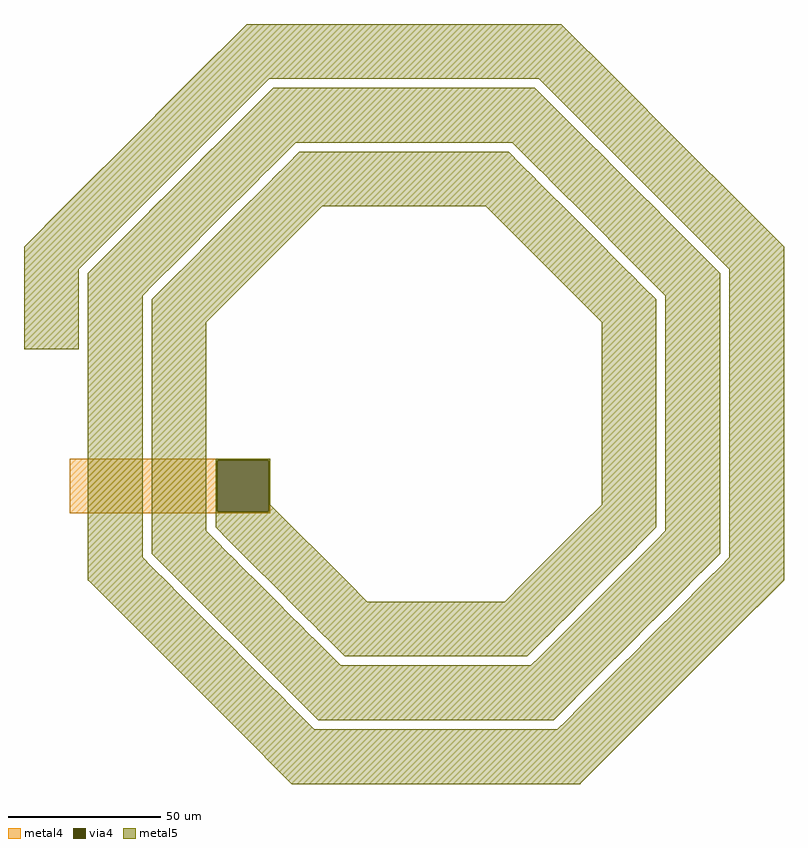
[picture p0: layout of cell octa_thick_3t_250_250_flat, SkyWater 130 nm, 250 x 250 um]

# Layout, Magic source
magic
tech sky130B
magscale 1 2
<< metal4 >>
rect -44100 -23712 -30900 -23600
rect -44100 -27088 -34388 -23712
rect -31012 -27088 -30900 -23712
rect -44100 -27200 -30900 -27088
<< via4 >>
rect -34388 -27088 -31012 -23712
<< metal5 >>
tri -36055 1400 -32455 5000 se
rect -32455 1400 -11745 5000
tri -11745 1400 -8145 5000 sw
tri -37667 -212 -36055 1400 se
rect -36055 800 -31564 1400
tri -31564 800 -30964 1400 nw
tri -13236 800 -12636 1400 ne
rect -12636 800 -8145 1400
rect -36055 -48 -32412 800
tri -32412 -48 -31564 800 nw
tri -31564 -48 -30716 800 se
rect -30716 -48 -13484 800
tri -13484 -48 -12636 800 sw
tri -12636 -48 -11788 800 ne
rect -11788 -48 -8145 800
rect -36055 -212 -32576 -48
tri -32576 -212 -32412 -48 nw
tri -31728 -212 -31564 -48 se
rect -31564 -212 -12636 -48
tri -39300 -1845 -37667 -212 se
rect -37667 -1060 -33424 -212
tri -33424 -1060 -32576 -212 nw
tri -32576 -1060 -31728 -212 se
rect -31728 -896 -12636 -212
tri -12636 -896 -11788 -48 sw
tri -11788 -896 -10940 -48 ne
rect -10940 -896 -8145 -48
rect -31728 -1060 -11788 -896
rect -37667 -1845 -34272 -1060
tri -40191 -2736 -39300 -1845 se
rect -39300 -1908 -34272 -1845
tri -34272 -1908 -33424 -1060 nw
tri -33424 -1908 -32576 -1060 se
rect -32576 -1104 -11788 -1060
tri -11788 -1104 -11580 -896 sw
tri -10940 -1104 -10732 -896 ne
rect -10732 -1104 -8145 -896
rect -32576 -1908 -11580 -1104
rect -39300 -2736 -35100 -1908
tri -35100 -2736 -34272 -1908 nw
tri -34252 -2736 -33424 -1908 se
rect -33424 -1952 -11580 -1908
tri -11580 -1952 -10732 -1104 sw
tri -10732 -1952 -9884 -1104 ne
rect -9884 -1952 -8145 -1104
rect -33424 -2736 -10732 -1952
tri -43500 -6045 -40191 -2736 se
rect -40191 -3584 -35948 -2736
tri -35948 -3584 -35100 -2736 nw
tri -34316 -2800 -34252 -2736 se
rect -34252 -2800 -10732 -2736
tri -10732 -2800 -9884 -1952 sw
tri -9884 -2800 -9036 -1952 ne
rect -9036 -2800 -8145 -1952
tri -8145 -2800 -3945 1400 sw
tri -35100 -3584 -34316 -2800 se
rect -34316 -3400 -29824 -2800
tri -29824 -3400 -29224 -2800 nw
tri -14976 -3400 -14376 -2800 ne
rect -14376 -3400 -9884 -2800
rect -34316 -3584 -30672 -3400
rect -40191 -4432 -36796 -3584
tri -36796 -4432 -35948 -3584 nw
tri -35948 -4432 -35100 -3584 se
rect -35100 -4248 -30672 -3584
tri -30672 -4248 -29824 -3400 nw
tri -29824 -4248 -28976 -3400 se
rect -28976 -4248 -15224 -3400
tri -15224 -4248 -14376 -3400 sw
tri -14376 -4248 -13528 -3400 ne
rect -13528 -3648 -9884 -3400
tri -9884 -3648 -9036 -2800 sw
tri -9036 -3648 -8188 -2800 ne
rect -8188 -3648 -3945 -2800
rect -13528 -4248 -9036 -3648
rect -35100 -4432 -31520 -4248
rect -40191 -5280 -37644 -4432
tri -37644 -5280 -36796 -4432 nw
tri -36796 -5280 -35948 -4432 se
rect -35948 -5096 -31520 -4432
tri -31520 -5096 -30672 -4248 nw
tri -30672 -5096 -29824 -4248 se
rect -29824 -5096 -14376 -4248
tri -14376 -5096 -13528 -4248 sw
tri -13528 -5096 -12680 -4248 ne
rect -12680 -4496 -9036 -4248
tri -9036 -4496 -8188 -3648 sw
tri -8188 -4496 -7340 -3648 ne
rect -7340 -4496 -3945 -3648
rect -12680 -5096 -8188 -4496
rect -35948 -5280 -31728 -5096
rect -40191 -5304 -37668 -5280
tri -37668 -5304 -37644 -5280 nw
tri -36820 -5304 -36796 -5280 se
rect -36796 -5304 -31728 -5280
tri -31728 -5304 -31520 -5096 nw
tri -30880 -5304 -30672 -5096 se
rect -30672 -5304 -13528 -5096
tri -13528 -5304 -13320 -5096 sw
tri -12680 -5304 -12472 -5096 ne
rect -12472 -5304 -8188 -5096
tri -8188 -5304 -7380 -4496 sw
tri -7340 -5304 -6532 -4496 ne
rect -6532 -5304 -3945 -4496
rect -40191 -6045 -38516 -5304
tri -44391 -6936 -43500 -6045 se
rect -43500 -6152 -38516 -6045
tri -38516 -6152 -37668 -5304 nw
tri -37668 -6152 -36820 -5304 se
rect -36820 -6152 -32576 -5304
tri -32576 -6152 -31728 -5304 nw
tri -31728 -6152 -30880 -5304 se
rect -30880 -6152 -13320 -5304
tri -13320 -6152 -12472 -5304 sw
tri -12472 -6152 -11624 -5304 ne
rect -11624 -6152 -7380 -5304
tri -7380 -6152 -6532 -5304 sw
tri -6532 -6152 -5684 -5304 ne
rect -5684 -6152 -3945 -5304
rect -43500 -6936 -39300 -6152
tri -39300 -6936 -38516 -6152 nw
tri -38452 -6936 -37668 -6152 se
rect -37668 -6936 -33424 -6152
tri -47100 -9645 -44391 -6936 se
rect -44391 -7784 -40148 -6936
tri -40148 -7784 -39300 -6936 nw
tri -39300 -7784 -38452 -6936 se
rect -38452 -7000 -33424 -6936
tri -33424 -7000 -32576 -6152 nw
tri -32576 -7000 -31728 -6152 se
rect -31728 -7000 -12472 -6152
tri -12472 -7000 -11624 -6152 sw
tri -11624 -7000 -10776 -6152 ne
rect -10776 -7000 -6532 -6152
tri -6532 -7000 -5684 -6152 sw
tri -5684 -7000 -4836 -6152 ne
rect -4836 -7000 -3945 -6152
tri -3945 -7000 255 -2800 sw
rect -38452 -7784 -34272 -7000
rect -44391 -8632 -40996 -7784
tri -40996 -8632 -40148 -7784 nw
tri -40148 -8632 -39300 -7784 se
rect -39300 -7848 -34272 -7784
tri -34272 -7848 -33424 -7000 nw
tri -33424 -7848 -32576 -7000 se
rect -39300 -8632 -35100 -7848
rect -44391 -8676 -41040 -8632
tri -41040 -8676 -40996 -8632 nw
tri -40192 -8676 -40148 -8632 se
rect -40148 -8676 -35100 -8632
tri -35100 -8676 -34272 -7848 nw
tri -34252 -8676 -33424 -7848 se
rect -33424 -8676 -32576 -7848
rect -44391 -9524 -41888 -8676
tri -41888 -9524 -41040 -8676 nw
tri -41040 -9524 -40192 -8676 se
rect -40192 -9524 -35948 -8676
tri -35948 -9524 -35100 -8676 nw
tri -35100 -9524 -34252 -8676 se
rect -34252 -9524 -32576 -8676
rect -44391 -9645 -42052 -9524
rect -47100 -9688 -42052 -9645
tri -42052 -9688 -41888 -9524 nw
tri -41204 -9688 -41040 -9524 se
rect -41040 -9688 -36796 -9524
rect -47100 -10536 -42900 -9688
tri -42900 -10536 -42052 -9688 nw
tri -42052 -10536 -41204 -9688 se
rect -41204 -10372 -36796 -9688
tri -36796 -10372 -35948 -9524 nw
tri -35948 -10372 -35100 -9524 se
rect -35100 -10372 -32576 -9524
rect -41204 -10536 -37644 -10372
rect -47100 -16400 -43500 -10536
tri -43500 -11136 -42900 -10536 nw
tri -42652 -11136 -42052 -10536 se
rect -42052 -11136 -37644 -10536
tri -42900 -11384 -42652 -11136 se
rect -42652 -11220 -37644 -11136
tri -37644 -11220 -36796 -10372 nw
tri -36796 -11220 -35948 -10372 se
rect -35948 -11220 -32576 -10372
rect -42652 -11243 -37667 -11220
tri -37667 -11243 -37644 -11220 nw
tri -36819 -11243 -36796 -11220 se
rect -36796 -11243 -32576 -11220
rect -42652 -11384 -38515 -11243
rect -42900 -12091 -38515 -11384
tri -38515 -12091 -37667 -11243 nw
tri -37667 -12091 -36819 -11243 se
rect -36819 -12091 -32576 -11243
tri -32576 -12091 -27485 -7000 nw
tri -16715 -12091 -11624 -7000 ne
tri -11624 -7848 -10776 -7000 sw
tri -10776 -7848 -9928 -7000 ne
rect -9928 -7848 -5684 -7000
tri -5684 -7848 -4836 -7000 sw
tri -4836 -7848 -3988 -7000 ne
rect -3988 -7848 255 -7000
rect -11624 -8676 -10776 -7848
tri -10776 -8676 -9948 -7848 sw
tri -9928 -8676 -9100 -7848 ne
rect -9100 -8676 -4836 -7848
tri -4836 -8676 -4008 -7848 sw
tri -3988 -8676 -3160 -7848 ne
rect -3160 -8676 255 -7848
rect -11624 -9524 -9948 -8676
tri -9948 -9524 -9100 -8676 sw
tri -9100 -9524 -8252 -8676 ne
rect -8252 -9524 -4008 -8676
tri -4008 -9524 -3160 -8676 sw
tri -3160 -9524 -2312 -8676 ne
rect -2312 -9524 255 -8676
rect -11624 -10372 -9100 -9524
tri -9100 -10372 -8252 -9524 sw
tri -8252 -10372 -7404 -9524 ne
rect -7404 -10372 -3160 -9524
tri -3160 -10372 -2312 -9524 sw
tri -2312 -10372 -1464 -9524 ne
rect -1464 -9645 255 -9524
tri 255 -9645 2900 -7000 sw
rect -1464 -10372 2900 -9645
rect -11624 -11220 -8252 -10372
tri -8252 -11220 -7404 -10372 sw
tri -7404 -11220 -6556 -10372 ne
rect -6556 -11136 -2312 -10372
tri -2312 -11136 -1548 -10372 sw
tri -1464 -11136 -700 -10372 ne
rect -6556 -11220 -1548 -11136
rect -11624 -11428 -7404 -11220
tri -7404 -11428 -7196 -11220 sw
tri -6556 -11428 -6348 -11220 ne
rect -6348 -11384 -1548 -11220
tri -1548 -11384 -1300 -11136 sw
rect -6348 -11428 -1300 -11384
rect -11624 -12091 -7196 -11428
rect -42900 -30694 -39300 -12091
tri -39300 -12876 -38515 -12091 nw
tri -38452 -12876 -37667 -12091 se
rect -37667 -12876 -35100 -12091
tri -38700 -13124 -38452 -12876 se
rect -38452 -13124 -35100 -12876
rect -38700 -28955 -35100 -13124
tri -35100 -14615 -32576 -12091 nw
tri -11624 -14615 -9100 -12091 ne
rect -9100 -12276 -7196 -12091
tri -7196 -12276 -6348 -11428 sw
tri -6348 -12276 -5500 -11428 ne
rect -5500 -12276 -1300 -11428
rect -9100 -13124 -6348 -12276
tri -6348 -13124 -5500 -12276 sw
tri -5500 -12876 -4900 -12276 ne
rect -34500 -23712 -30900 -23600
rect -34500 -27088 -34388 -23712
rect -31012 -27088 -30900 -23712
rect -34500 -28106 -30900 -27088
tri -35100 -28955 -34500 -28355 sw
tri -34500 -28955 -33651 -28106 ne
rect -33651 -28955 -30900 -28106
rect -38700 -29804 -34500 -28955
tri -34500 -29804 -33651 -28955 sw
tri -33651 -29804 -32802 -28955 ne
rect -32802 -29804 -30900 -28955
rect -38700 -29846 -33651 -29804
tri -39300 -30694 -38700 -30094 sw
tri -38700 -30694 -37852 -29846 ne
rect -37852 -30008 -33651 -29846
tri -33651 -30008 -33447 -29804 sw
tri -32802 -30008 -32598 -29804 ne
rect -32598 -30008 -30900 -29804
rect -37852 -30694 -33447 -30008
rect -42900 -30858 -38700 -30694
tri -38700 -30858 -38536 -30694 sw
tri -37852 -30858 -37688 -30694 ne
rect -37688 -30857 -33447 -30694
tri -33447 -30857 -32598 -30008 sw
tri -32598 -30857 -31749 -30008 ne
rect -31749 -30857 -30900 -30008
rect -37688 -30858 -32598 -30857
rect -42900 -31585 -38536 -30858
tri -42900 -31706 -42779 -31585 ne
rect -42779 -31706 -38536 -31585
tri -38536 -31706 -37688 -30858 sw
tri -37688 -31706 -36840 -30858 ne
rect -36840 -31706 -32598 -30858
tri -32598 -31706 -31749 -30857 sw
tri -31749 -31706 -30900 -30857 ne
tri -30900 -31706 -25809 -26615 sw
tri -10394 -27909 -9100 -26615 se
rect -9100 -27909 -5500 -13124
tri -14191 -31706 -10394 -27909 se
rect -10394 -28106 -5500 -27909
rect -10394 -28955 -6349 -28106
tri -6349 -28955 -5500 -28106 nw
tri -5500 -28955 -4900 -28355 se
rect -4900 -28955 -1300 -12276
rect -10394 -29804 -7198 -28955
tri -7198 -29804 -6349 -28955 nw
tri -6349 -29804 -5500 -28955 se
rect -5500 -29804 -1300 -28955
rect -10394 -30653 -8047 -29804
tri -8047 -30653 -7198 -29804 nw
tri -7198 -30653 -6349 -29804 se
rect -6349 -29846 -1300 -29804
rect -6349 -30653 -2148 -29846
rect -10394 -31302 -8696 -30653
tri -8696 -31302 -8047 -30653 nw
tri -7847 -31302 -7198 -30653 se
rect -7198 -30694 -2148 -30653
tri -2148 -30694 -1300 -29846 nw
tri -1300 -30694 -700 -30094 se
rect -700 -30694 2900 -10372
rect -7198 -31302 -2996 -30694
rect -10394 -31706 -9545 -31302
tri -42779 -36797 -37688 -31706 ne
tri -37688 -32554 -36840 -31706 sw
tri -36840 -32554 -35992 -31706 ne
rect -35992 -32554 -31749 -31706
rect -37688 -33402 -36840 -32554
tri -36840 -33402 -35992 -32554 sw
tri -35992 -33402 -35144 -32554 ne
rect -35144 -32555 -31749 -32554
tri -31749 -32555 -30900 -31706 sw
tri -30900 -32555 -30051 -31706 ne
rect -30051 -32555 -25809 -31706
rect -35144 -33000 -30900 -32555
tri -30900 -33000 -30455 -32555 sw
tri -30051 -33000 -29606 -32555 ne
rect -29606 -33000 -25809 -32555
tri -25809 -33000 -24515 -31706 sw
tri -15485 -33000 -14191 -31706 se
rect -14191 -32151 -9545 -31706
tri -9545 -32151 -8696 -31302 nw
tri -8696 -32151 -7847 -31302 se
rect -7847 -31542 -2996 -31302
tri -2996 -31542 -2148 -30694 nw
tri -2148 -31542 -1300 -30694 se
rect -1300 -31542 2900 -30694
rect -7847 -32151 -3607 -31542
rect -14191 -33000 -10394 -32151
tri -10394 -33000 -9545 -32151 nw
tri -9545 -33000 -8696 -32151 se
rect -8696 -32153 -3607 -32151
tri -3607 -32153 -2996 -31542 nw
tri -2759 -32153 -2148 -31542 se
rect -2148 -31585 2900 -31542
rect -2148 -32153 -700 -31585
rect -8696 -33000 -4455 -32153
rect -35144 -33402 -30455 -33000
rect -37688 -34250 -35992 -33402
tri -35992 -34250 -35144 -33402 sw
tri -35144 -34250 -34296 -33402 ne
rect -34296 -33849 -30455 -33402
tri -30455 -33849 -29606 -33000 sw
tri -29606 -33849 -28757 -33000 ne
rect -28757 -33849 -11243 -33000
tri -11243 -33849 -10394 -33000 nw
tri -10394 -33849 -9545 -33000 se
rect -9545 -33001 -4455 -33000
tri -4455 -33001 -3607 -32153 nw
tri -3607 -33001 -2759 -32153 se
rect -2759 -33001 -700 -32153
rect -9545 -33849 -5303 -33001
tri -5303 -33849 -4455 -33001 nw
tri -4455 -33849 -3607 -33001 se
rect -3607 -33849 -700 -33001
rect -34296 -34250 -29606 -33849
rect -37688 -34253 -35144 -34250
tri -35144 -34253 -35141 -34250 sw
tri -34296 -34253 -34293 -34250 ne
rect -34293 -34253 -29606 -34250
rect -37688 -35101 -35141 -34253
tri -35141 -35101 -34293 -34253 sw
tri -34293 -35101 -33445 -34253 ne
rect -33445 -34698 -29606 -34253
tri -29606 -34698 -28757 -33849 sw
tri -28757 -34698 -27908 -33849 ne
rect -27908 -34698 -12092 -33849
tri -12092 -34698 -11243 -33849 nw
tri -11243 -34698 -10394 -33849 se
rect -10394 -34697 -6151 -33849
tri -6151 -34697 -5303 -33849 nw
tri -5303 -34697 -4455 -33849 se
rect -4455 -34697 -700 -33849
rect -10394 -34698 -6999 -34697
rect -33445 -34902 -28757 -34698
tri -28757 -34902 -28553 -34698 sw
tri -27908 -34902 -27704 -34698 ne
rect -27704 -34902 -12296 -34698
tri -12296 -34902 -12092 -34698 nw
tri -11447 -34902 -11243 -34698 se
rect -11243 -34902 -6999 -34698
rect -33445 -35101 -28553 -34902
rect -37688 -35949 -34293 -35101
tri -34293 -35949 -33445 -35101 sw
tri -33445 -35949 -32597 -35101 ne
rect -32597 -35751 -28553 -35101
tri -28553 -35751 -27704 -34902 sw
tri -27704 -35751 -26855 -34902 ne
rect -26855 -35751 -13145 -34902
tri -13145 -35751 -12296 -34902 nw
tri -12296 -35751 -11447 -34902 se
rect -11447 -35545 -6999 -34902
tri -6999 -35545 -6151 -34697 nw
tri -6151 -35545 -5303 -34697 se
rect -5303 -35185 -700 -34697
tri -700 -35185 2900 -31585 nw
rect -11447 -35751 -7806 -35545
rect -32597 -35949 -27704 -35751
rect -37688 -36797 -33445 -35949
tri -33445 -36797 -32597 -35949 sw
tri -32597 -36797 -31749 -35949 ne
rect -31749 -36600 -27704 -35949
tri -27704 -36600 -26855 -35751 sw
tri -26855 -36600 -26006 -35751 ne
rect -26006 -36600 -13994 -35751
tri -13994 -36600 -13145 -35751 nw
tri -13145 -36600 -12296 -35751 se
rect -12296 -36352 -7806 -35751
tri -7806 -36352 -6999 -35545 nw
tri -6958 -36352 -6151 -35545 se
rect -6151 -36352 -5303 -35545
rect -12296 -36600 -8654 -36352
rect -31749 -36797 -26855 -36600
tri -37688 -41400 -33085 -36797 ne
rect -33085 -37645 -32597 -36797
tri -32597 -37645 -31749 -36797 sw
tri -31749 -37645 -30901 -36797 ne
rect -30901 -37200 -26855 -36797
tri -26855 -37200 -26255 -36600 sw
tri -13745 -37200 -13145 -36600 se
rect -13145 -37200 -8654 -36600
tri -8654 -37200 -7806 -36352 nw
tri -7806 -37200 -6958 -36352 se
rect -6958 -37200 -5303 -36352
rect -30901 -37645 -9502 -37200
rect -33085 -38493 -31749 -37645
tri -31749 -38493 -30901 -37645 sw
tri -30901 -38493 -30053 -37645 ne
rect -30053 -38048 -9502 -37645
tri -9502 -38048 -8654 -37200 nw
tri -8654 -38048 -7806 -37200 se
rect -7806 -38048 -5303 -37200
rect -30053 -38092 -9546 -38048
tri -9546 -38092 -9502 -38048 nw
tri -8698 -38092 -8654 -38048 se
rect -8654 -38092 -5303 -38048
rect -30053 -38493 -10394 -38092
rect -33085 -39104 -30901 -38493
tri -30901 -39104 -30290 -38493 sw
tri -30053 -39104 -29442 -38493 ne
rect -29442 -38940 -10394 -38493
tri -10394 -38940 -9546 -38092 nw
tri -9546 -38940 -8698 -38092 se
rect -8698 -38940 -5303 -38092
rect -29442 -39104 -11242 -38940
rect -33085 -39952 -30290 -39104
tri -30290 -39952 -29442 -39104 sw
tri -29442 -39952 -28594 -39104 ne
rect -28594 -39788 -11242 -39104
tri -11242 -39788 -10394 -38940 nw
tri -10394 -39788 -9546 -38940 se
rect -9546 -39788 -5303 -38940
tri -5303 -39788 -700 -35185 nw
rect -28594 -39952 -11406 -39788
tri -11406 -39952 -11242 -39788 nw
tri -10558 -39952 -10394 -39788 se
rect -33085 -40800 -29442 -39952
tri -29442 -40800 -28594 -39952 sw
tri -28594 -40800 -27746 -39952 ne
rect -27746 -40800 -12254 -39952
tri -12254 -40800 -11406 -39952 nw
tri -11406 -40800 -10558 -39952 se
rect -10558 -40800 -10394 -39952
rect -33085 -41400 -28594 -40800
tri -28594 -41400 -27994 -40800 sw
tri -12006 -41400 -11406 -40800 se
rect -11406 -41400 -10394 -40800
tri -33085 -45000 -29485 -41400 ne
rect -29485 -44879 -10394 -41400
tri -10394 -44879 -5303 -39788 nw
rect -29485 -45000 -10515 -44879
tri -10515 -45000 -10394 -44879 nw
<< end >>
